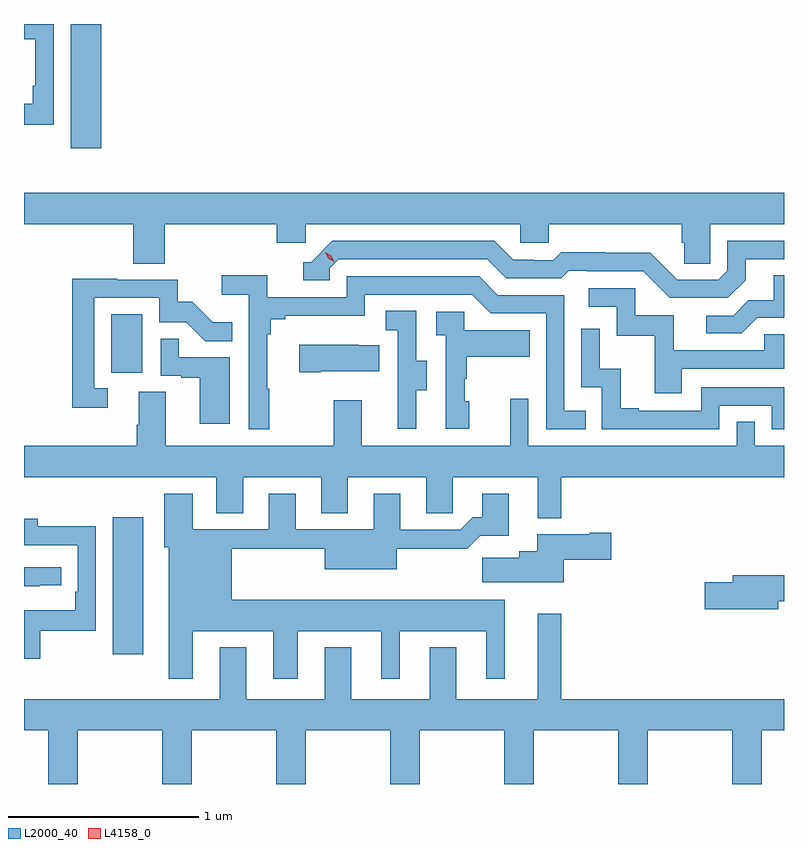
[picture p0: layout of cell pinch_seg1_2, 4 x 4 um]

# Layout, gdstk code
import gdstk
lib = gdstk.Library(unit=1e-6, precision=1e-09)
def R(c, l, rs):  # rectangles x0, y0, x1, y1
    for r in rs: c.add(gdstk.rectangle(r[:2], r[2:], *l))
def P(c, l, *ps):  # polygons
    for p in ps: c.add(gdstk.Polygon(p, *l))
L2000_40 = (2000, 40)
L4158_0 = (4158, 0)

pinch_seg1_2 = lib.new_cell('pinch_seg1_2')
R(pinch_seg1_2, L2000_40, [(1090.403,570.78,1090.564,571.501), (1090.394,572.262,1090.558,572.569), (1090.181,573.444,1090.342,574.097)])
P(pinch_seg1_2, L2000_40, [(1090.092,574.097),(1089.936,574.097),(1089.936,574.017),(1089.996,574.017),(1089.996,573.772),(1089.983,573.772),(1089.983,573.676),(1089.936,573.676),(1089.936,573.567),(1090.092,573.567)],
  [(1090.676,573.044),(1091.267,573.044),(1091.267,572.946),(1091.418,572.946),(1091.418,573.044),(1092.549,573.044),(1092.549,572.946),(1092.699,572.946),(1092.699,573.044),(1093.397,573.044),(1093.397,572.946),(1093.411,572.946),(1093.411,572.836),(1093.548,572.836),(1093.548,573.044),(1093.936,573.044),(1093.936,573.208),(1089.936,573.208),(1089.936,573.044),(1090.511,573.044),(1090.511,572.836),(1090.676,572.836)],
  [(1093.735,572.749),(1093.735,572.859),(1093.936,572.859),(1093.936,572.955),(1093.638,572.955),(1093.638,572.799),(1093.59,572.751),(1093.374,572.751),(1093.232,572.893),(1092.996,572.893),(1092.996,572.896),(1092.763,572.896),(1092.721,572.853),(1092.618,572.853),(1092.618,572.856),(1092.511,572.856),(1092.412,572.955),(1091.559,572.955),(1091.448,572.844),(1091.405,572.844),(1091.405,572.748),(1091.544,572.748),(1091.544,572.811),(1091.592,572.859),(1092.375,572.859),(1092.474,572.76),(1092.763,572.76),(1092.802,572.799),(1092.901,572.799),(1092.901,572.796),(1093.194,572.796),(1093.335,572.655),(1093.641,572.655)],
  [(1091.227,572.177),(1091.215,572.177),(1091.215,572.465),(1091.234,572.465),(1091.234,572.542),(1091.311,572.542),(1091.311,572.561),(1091.73,572.561),(1091.73,572.673),(1092.294,572.673),(1092.393,572.574),(1092.684,572.574),(1092.684,571.965),(1092.893,571.965),(1092.893,572.061),(1092.78,572.061),(1092.78,572.67),(1092.43,572.67),(1092.331,572.769),(1091.634,572.769),(1091.634,572.658),(1091.216,572.658),(1091.216,572.774),(1090.977,572.774),(1090.977,572.672),(1091.118,572.672),(1091.118,571.965),(1091.227,571.965)],
  [(1093.795,572.55),(1093.936,572.55),(1093.936,572.774),(1093.883,572.774),(1093.883,572.642),(1093.748,572.642),(1093.668,572.562),(1093.527,572.562),(1093.527,572.469),(1093.714,572.469)],
  [(1090.378,572.181),(1090.305,572.181),(1090.305,572.655),(1090.647,572.655),(1090.647,572.526),(1090.791,572.526),(1090.889,572.428),(1091.033,572.428),(1091.033,572.527),(1090.929,572.527),(1090.822,572.634),(1090.746,572.634),(1090.746,572.751),(1090.427,572.751),(1090.427,572.756),(1090.189,572.756),(1090.189,572.076),(1090.378,572.076)],
  [(1093.399,572.283),(1093.936,572.283),(1093.936,572.463),(1093.831,572.463),(1093.831,572.379),(1093.357,572.379),(1093.357,572.565),(1093.152,572.565),(1093.152,572.706),(1092.909,572.706),(1092.909,572.61),(1093.056,572.61),(1093.056,572.457),(1093.255,572.457),(1093.255,572.154),(1093.399,572.154)],
  [(1092.001,572.17),(1092.055,572.17),(1092.055,572.325),(1092,572.325),(1092,572.588),(1091.841,572.588),(1091.841,572.485),(1091.904,572.485),(1091.904,572.181),(1091.903,572.181),(1091.903,571.968),(1092.001,571.968)],
  [(1092.28,572.112),(1092.255,572.112),(1092.255,572.231),(1092.265,572.231),(1092.265,572.345),(1092.599,572.345),(1092.599,572.485),(1092.252,572.485),(1092.252,572.583),(1092.105,572.583),(1092.105,572.459),(1092.156,572.459),(1092.156,571.968),(1092.28,571.968)],
  [(1093.596,572.088),(1093.872,572.088),(1093.872,571.965),(1093.936,571.965),(1093.936,572.184),(1093.5,572.184),(1093.5,572.061),(1093.171,572.061),(1093.171,572.074),(1093.076,572.074),(1093.076,572.282),(1092.966,572.282),(1092.966,572.494),(1092.87,572.494),(1092.87,572.184),(1092.978,572.184),(1092.978,571.965),(1093.596,571.965)],
  [(1091.02,572.343),(1090.751,572.343),(1090.751,572.441),(1090.656,572.441),(1090.656,572.247),(1090.763,572.247),(1090.763,572.235),(1090.862,572.235),(1090.862,571.992),(1091.02,571.992)],
  [(1091.497,572.27),(1091.807,572.27),(1091.807,572.407),(1091.699,572.407),(1091.699,572.41),(1091.385,572.41),(1091.385,572.263),(1091.497,572.263)],
  [(1092.763,571.712),(1093.936,571.712),(1093.936,571.876),(1093.782,571.876),(1093.782,572.003),(1093.686,572.003),(1093.686,571.876),(1092.591,571.876),(1092.591,572.125),(1092.494,572.125),(1092.494,571.876),(1091.713,571.876),(1091.713,572.116),(1091.566,572.116),(1091.566,571.876),(1090.681,571.876),(1090.681,572.162),(1090.541,572.162),(1090.541,571.988),(1090.529,571.988),(1090.529,571.876),(1089.936,571.876),(1089.936,571.712),(1090.949,571.712),(1090.949,571.522),(1091.089,571.522),(1091.089,571.712),(1091.501,571.712),(1091.501,571.522),(1091.641,571.522),(1091.641,571.712),(1092.053,571.712),(1092.053,571.522),(1092.192,571.522),(1092.192,571.712),(1092.641,571.712),(1092.641,571.496),(1092.763,571.496)],
  [(1090.825,570.902),(1091.249,570.902),(1091.249,570.651),(1091.377,570.651),(1091.377,570.902),(1091.816,570.902),(1091.816,570.651),(1091.914,570.651),(1091.914,570.902),(1092.368,570.902),(1092.368,570.651),(1092.466,570.651),(1092.466,571.066),(1091.029,571.066),(1091.029,571.336),(1091.519,571.336),(1091.519,571.226),(1091.899,571.226),(1091.899,571.334),(1092.269,571.334),(1092.338,571.403),(1092.487,571.403),(1092.487,571.624),(1092.347,571.624),(1092.347,571.501),(1092.298,571.501),(1092.231,571.434),(1091.917,571.434),(1091.917,571.624),(1091.777,571.624),(1091.777,571.437),(1091.365,571.437),(1091.365,571.624),(1091.225,571.624),(1091.225,571.437),(1090.825,571.437),(1090.825,571.624),(1090.673,571.624),(1090.673,571.344),(1090.697,571.344),(1090.697,570.651),(1090.825,570.651)],
  [(1090.021,570.903),(1090.314,570.903),(1090.314,571.454),(1090.009,571.454),(1090.009,571.492),(1089.936,571.492),(1089.936,571.353),(1090.218,571.353),(1090.218,571.108),(1090.205,571.108),(1090.205,571.012),(1089.936,571.012),(1089.936,570.756),(1090.021,570.756)],
  [(1092.778,571.277),(1093.027,571.277),(1093.027,571.419),(1092.914,571.419),(1092.914,571.411),(1092.638,571.411),(1092.638,571.321),(1092.542,571.321),(1092.542,571.289),(1092.348,571.289),(1092.348,571.16),(1092.778,571.16)],
  [(1090.019,571.143),(1090.132,571.143),(1090.132,571.239),(1089.936,571.239),(1089.936,571.138),(1090.019,571.138)],
  [(1093.906,571.06),(1093.936,571.06),(1093.936,571.196),(1093.667,571.196),(1093.667,571.16),(1093.518,571.16),(1093.518,571.018),(1093.906,571.018)],
  [(1090.218,570.38),(1090.663,570.38),(1090.663,570.097),(1090.818,570.097),(1090.818,570.38),(1091.263,570.38),(1091.263,570.097),(1091.418,570.097),(1091.418,570.38),(1091.863,570.38),(1091.863,570.097),(1092.018,570.097),(1092.018,570.38),(1092.463,570.38),(1092.463,570.097),(1092.618,570.097),(1092.618,570.38),(1093.063,570.38),(1093.063,570.097),(1093.218,570.097),(1093.218,570.38),(1093.663,570.38),(1093.663,570.097),(1093.818,570.097),(1093.818,570.38),(1093.936,570.38),(1093.936,570.544),(1092.763,570.544),(1092.763,570.994),(1092.641,570.994),(1092.641,570.544),(1092.211,570.544),(1092.211,570.817),(1092.071,570.817),(1092.071,570.544),(1091.659,570.544),(1091.659,570.817),(1091.519,570.817),(1091.519,570.544),(1091.107,570.544),(1091.107,570.817),(1090.967,570.817),(1090.967,570.544),(1089.936,570.544),(1089.936,570.38),(1090.063,570.38),(1090.063,570.097),(1090.218,570.097)])
P(pinch_seg1_2, L4158_0, [(1091.568,572.846),(1091.537,572.865),(1091.521,572.897),(1091.521,572.897),(1091.521,572.897),(1091.552,572.878),(1091.569,572.846),(1091.569,572.846)])

lib.write_gds('pinch_seg1_2.gds')
